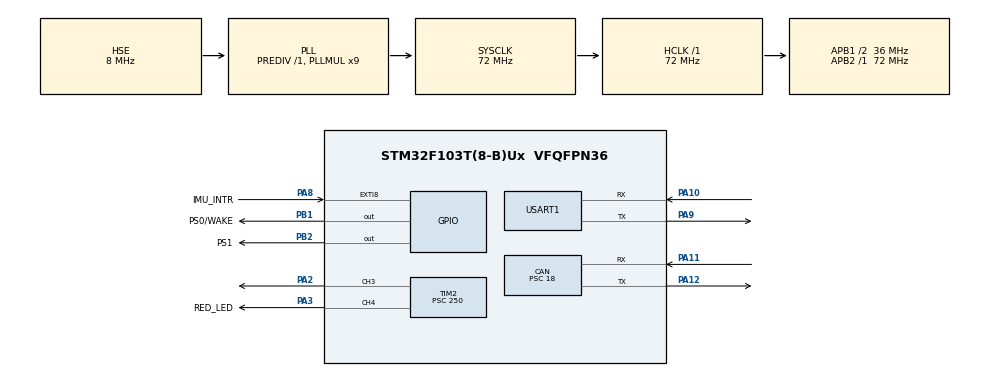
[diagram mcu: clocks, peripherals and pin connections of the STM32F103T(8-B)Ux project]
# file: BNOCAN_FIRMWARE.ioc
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CAN.BS1=CAN_BS1_2TQ
CAN.CalculateBaudRate=500000
CAN.CalculateTimeBit=2000
CAN.CalculateTimeQuantum=500.0
CAN.Mode=CAN_MODE_LOOPBACK
CAN.Prescaler=18
Mcu.Family=STM32F1
Mcu.Name=STM32F103T(8-B)Ux
Mcu.Package=VFQFPN36
NVIC.CAN1_RX1_IRQn=true\:0\:0\:false\:false\:true\:true\:true\:true
NVIC.PriorityGroup=NVIC_PRIORITYGROUP_4
NVIC.USB_LP_CAN1_RX0_IRQn=true\:0\:0\:false\:false\:true\:true\:true\:true
PA10.Mode=Asynchronous
PA10.Signal=USART1_RX
PA11.Mode=CAN_Activate
PA11.Signal=CAN_RX
PA12.Mode=CAN_Activate
PA12.Signal=CAN_TX
PA13.Mode=Serial_Wire
PA13.Signal=SYS_JTMS-SWDIO
PA14.Mode=Serial_Wire
PA14.Signal=SYS_JTCK-SWCLK
PA2.Signal=S_TIM2_CH3
PA3.GPIO_Label=RED_LED
PA3.Signal=S_TIM2_CH4
PA8.GPIO_Label=IMU_INTR
PA8.GPIO_ModeDefaultEXTI=GPIO_MODE_IT_FALLING
PA8.Signal=GPXTI8
PA9.Mode=Asynchronous
PA9.Signal=USART1_TX
PB1.GPIO_Label=PS0/WAKE
PB1.GPIO_PuPd=GPIO_PULLUP
PB1.Signal=GPIO_Output
PB2.GPIO_Label=PS1
PB2.GPIO_PuPd=GPIO_PULLUP
PB2.Signal=GPIO_Output
PB3.Signal=SYS_JTDO-TRACESWO
PD0-OSC_IN.Mode=HSE-External-Oscillator
PD0-OSC_IN.Signal=RCC_OSC_IN
PD1-OSC_OUT.Mode=HSE-External-Oscillator
PD1-OSC_OUT.Signal=RCC_OSC_OUT
ProjectManager.HeapSize=0x200
ProjectManager.StackSize=0x400
ProjectManager.TargetToolchain=STM32CubeIDE
RCC.AHBFreq_Value=72000000
RCC.APB1CLKDivider=RCC_HCLK_DIV2
RCC.APB1Freq_Value=36000000
RCC.APB1TimFreq_Value=72000000
RCC.APB2Freq_Value=72000000
RCC.APB2TimFreq_Value=72000000
RCC.HCLKFreq_Value=72000000
RCC.PLLMUL=RCC_PLL_MUL9
RCC.PLLSourceVirtual=RCC_PLLSOURCE_HSE
RCC.SYSCLKFreq_VALUE=72000000
RCC.SYSCLKSource=RCC_SYSCLKSOURCE_PLLCLK
RCC.USBFreq_Value=72000000
SH.S_TIM2_CH3.0=TIM2_CH3,PWM Generation3 CH3
SH.S_TIM2_CH4.0=TIM2_CH4,PWM Generation4 CH4
TIM2.Channel-PWM\ Generation3\ CH3=TIM_CHANNEL_3
TIM2.Channel-PWM\ Generation4\ CH4=TIM_CHANNEL_4
TIM2.Period=255
TIM2.Prescaler=250
TIM2.Pulse-PWM\ Generation3\ CH3=127
TIM2.Pulse-PWM\ Generation4\ CH4=127
USART1.VirtualMode=VM_ASYNC
VP_TIM2_VS_ClockSourceINT.Mode=Internal
board=custom

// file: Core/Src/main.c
/* USER CODE BEGIN Header */
/**
  ******************************************************************************
  * @file           : main.c
  * @brief          : Main program body
  ******************************************************************************
  * @attention
  *
  * Copyright (c) 2024 STMicroelectronics.
  * All rights reserved.
  *
  * This software is licensed under terms that can be found in the LICENSE file
  * in the root directory of this software component.
  * If no LICENSE file comes with this software, it is provided AS-IS.
  *
  ******************************************************************************
  */
/* USER CODE END Header */
#include "main.h"

/* USER CODE BEGIN Includes */
#include "stdio.h"
#define REVERSE_BITS(byte) ((byte * 0x0202020202ULL & 0x010884422010ULL) % 1023)
#define reverse_bytes_8(num) ( ((num & 0xF0) >> 4) | ((num & 0x0F) << 4) )

/* USER CODE END Includes */

CAN_HandleTypeDef hcan;

TIM_HandleTypeDef htim2;

UART_HandleTypeDef huart1;

void SystemClock_Config(void);
static void MX_GPIO_Init(void);
static void MX_CAN_Init(void);
static void MX_TIM2_Init(void);
static void MX_USART1_UART_Init(void);

/* USER CODE BEGIN 0 */

//Create header variables for incoming and outgoing CAN messages
CAN_TxHeaderTypeDef TxHeader;
CAN_RxHeaderTypeDef RxHeader;

//Create an array of CAN TX mailboxes (The F103 only supports up to 3 mailboxes!)
uint32_t TxMailbox[3];

//Create buffers for TX and RX CAN messages
uint8_t TxData[8];
uint8_t RxData[8];

//Create buffers for the UART RX messages
uint8_t uartRxData[19];

//Index for BNO085 Data alignment
uint8_t IndexOfPacketPrefix;
//Define the expected BNO085 packet prefix
#define PACKET_PREFIX 0xAAAA

//Upon receiving a CAN message
void HAL_CAN_RxFifo0MsgPendingCallback(CAN_HandleTypeDef *hcan)
{
	//Get a CAN frame from the Rx FIFO zone into the message RAM.
	HAL_CAN_GetRxMessage(hcan, CAN_RX_FIFO0, &RxHeader, RxData);
}
/* USER CODE END 0 */

int main(void)
{

  /* MCU Configuration--------------------------------------------------------*/

  /* Reset of all peripherals, Initializes the Flash interface and the Systick. */
  HAL_Init();

  /* Configure the system clock */
  SystemClock_Config();

  /* Initialize all configured peripherals */
  MX_GPIO_Init();
  MX_CAN_Init();
  MX_TIM2_Init();
  MX_USART1_UART_Init();
  /* USER CODE BEGIN 2 */

  /* Set the Protocol Select lines for the BNO085,
   * PS1 LOW and PS0 HIGH on boot sets the IMU to RVC (Robot Vacuum Cleaner)
   * mode. Which streams all data through the UART bus. Read the data sheet for more information.
   */
  HAL_GPIO_WritePin(GPIOB, PS1_Pin, GPIO_PIN_RESET);
  HAL_GPIO_WritePin(GPIOB, PS0_WAKE_Pin, GPIO_PIN_SET);

  //Start the CAN peripheral
  HAL_CAN_Start(&hcan);
  //Enable interrupts upon receiving CAN messages
  HAL_CAN_ActivateNotification(&hcan, CAN_IT_RX_FIFO0_MSG_PENDING);

  //Turn on Green LED
  HAL_TIM_PWM_Start(&htim2, TIM_CHANNEL_3); //GREEN LED or D3

  //Define CAN TX header
  TxHeader.DLC = 2;
  TxHeader.ExtId = 0;
  TxHeader.IDE = CAN_ID_STD;
  TxHeader.RTR = CAN_RTR_DATA;
  TxHeader.StdId = 0x111;
  TxHeader.TransmitGlobalTime = DISABLE;

  //Define CAN TX Data
  TxData[0] = 0x01;
  TxData[1] = 0x02;

//  if (HAL_CAN_AddTxMessage(&hcan, &TxHeader, &TxData[0], &TxMailbox[0]) != HAL_OK)
//  {
//	  Error_Handler();
//  }
//  if (HAL_CAN_AddTxMessage(&hcan, &TxHeader, &TxData[1], &TxMailbox[1]) != HAL_OK)
//  {
//	  Error_Handler();
//  }
//  if (HAL_CAN_AddTxMessage(&hcan, &TxHeader, &TxData[2], &TxMailbox[2]) != HAL_OK)
//  {
//	  Error_Handler();
//  }

  /* USER CODE END 2 */

  /* Infinite loop */
  /* USER CODE BEGIN WHILE */
  while (1)
  {

	  //Begin reading the UART buffer
	  if(HAL_UART_Receive(&huart1, uartRxData, 19, 1000) == HAL_OK)
	  {
		  //For the first 19 bytes
		  for(int i = 0; i < 19; i++)
		  {
			// Check if this particular set of bytes matches the expected value
			  uint16_t prefix = (uartRxData[i] << 8) | uartRxData[i+1];
			  if(prefix == PACKET_PREFIX)
			  {
				  //note that this is the index to start at
				  IndexOfPacketPrefix = i;

				  //exit the loop
				  i = 0xFFFF;
			  }
		  }

		  // Set the CAN data to send to be equal to the YAW sent by the BNO085
		  // See part 1.2.5.2 in the BNO085 data sheet for more information
		  //DEBUG:
		  //printf("Mailbox before send = %X\n", HAL_CAN_GetTxMailboxesFreeLevel(&hcan));

		  TxData[0] = REVERSE_BITS(uartRxData[IndexOfPacketPrefix + 3]);
		  TxData[1] = REVERSE_BITS(uartRxData[IndexOfPacketPrefix + 4]);
		  // Send that message to the first CAN mailbox
		  if (HAL_CAN_AddTxMessage(&hcan, &TxHeader, &TxData, &TxMailbox[0]) != HAL_OK)
		  {
			  Error_Handler();
		  }
		  //DEBUG:
		  //printf("Mailbox after send = %X\n", HAL_CAN_GetTxMailboxesFreeLevel(&hcan));

		}
	    //DEBUG:
		HAL_Delay(100);
		//<DEBUG>:

    /* USER CODE END WHILE */

  }
}

void SystemClock_Config(void)
{
  RCC_OscInitTypeDef RCC_OscInitStruct = {0};
  RCC_ClkInitTypeDef RCC_ClkInitStruct = {0};

  /** Initializes the RCC Oscillators according to the specified parameters
  * in the RCC_OscInitTypeDef structure.
  */
  RCC_OscInitStruct.OscillatorType = RCC_OSCILLATORTYPE_HSE;
  RCC_OscInitStruct.HSEState = RCC_HSE_ON;
  RCC_OscInitStruct.HSEPredivValue = RCC_HSE_PREDIV_DIV1;
  RCC_OscInitStruct.HSIState = RCC_HSI_ON;
  RCC_OscInitStruct.PLL.PLLState = RCC_PLL_ON;
  RCC_OscInitStruct.PLL.PLLSource = RCC_PLLSOURCE_HSE;
  RCC_OscInitStruct.PLL.PLLMUL = RCC_PLL_MUL9;
  if (HAL_RCC_OscConfig(&RCC_OscInitStruct) != HAL_OK)
  {
    Error_Handler();
  }

  /** Initializes the CPU, AHB and APB buses clocks
  */
  RCC_ClkInitStruct.ClockType = RCC_CLOCKTYPE_HCLK|RCC_CLOCKTYPE_SYSCLK
                              |RCC_CLOCKTYPE_PCLK1|RCC_CLOCKTYPE_PCLK2;
  RCC_ClkInitStruct.SYSCLKSource = RCC_SYSCLKSOURCE_PLLCLK;
  RCC_ClkInitStruct.AHBCLKDivider = RCC_SYSCLK_DIV1;
  RCC_ClkInitStruct.APB1CLKDivider = RCC_HCLK_DIV2;
  RCC_ClkInitStruct.APB2CLKDivider = RCC_HCLK_DIV1;

  if (HAL_RCC_ClockConfig(&RCC_ClkInitStruct, FLASH_LATENCY_2) != HAL_OK)
  {
    Error_Handler();
  }
}

static void MX_CAN_Init(void)
{

  hcan.Instance = CAN1;
  hcan.Init.Prescaler = 18;
  hcan.Init.Mode = CAN_MODE_LOOPBACK;
  hcan.Init.SyncJumpWidth = CAN_SJW_1TQ;
  hcan.Init.TimeSeg1 = CAN_BS1_2TQ;
  hcan.Init.TimeSeg2 = CAN_BS2_1TQ;
  hcan.Init.TimeTriggeredMode = DISABLE;
  hcan.Init.AutoBusOff = DISABLE;
  hcan.Init.AutoWakeUp = DISABLE;
  hcan.Init.AutoRetransmission = DISABLE;
  hcan.Init.ReceiveFifoLocked = DISABLE;
  hcan.Init.TransmitFifoPriority = DISABLE;
  if (HAL_CAN_Init(&hcan) != HAL_OK)
  {
    Error_Handler();
  }
  /* USER CODE BEGIN CAN_Init 2 */

  CAN_FilterTypeDef canfilterconfig;

  canfilterconfig.FilterActivation = CAN_FILTER_ENABLE;
  canfilterconfig.FilterBank = 10;  // anything between 0 to SlaveStartFilterBank
  canfilterconfig.FilterFIFOAssignment = CAN_RX_FIFO0;
  canfilterconfig.FilterIdHigh = 0x103<<5;
  canfilterconfig.FilterIdLow = 0x0000;
  canfilterconfig.FilterMaskIdHigh = 0x1<<13;
  canfilterconfig.FilterMaskIdLow = 0x0000;
  canfilterconfig.FilterMode = CAN_FILTERMODE_IDMASK;
  canfilterconfig.FilterScale = CAN_FILTERSCALE_32BIT;
  canfilterconfig.SlaveStartFilterBank = 13;  // 13 to 27 are assigned to slave CAN (CAN 2) OR 0 to 12 are assgned to CAN1

  HAL_CAN_ConfigFilter(&hcan, &canfilterconfig);

  /* USER CODE END CAN_Init 2 */

}

static void MX_TIM2_Init(void)
{

  TIM_ClockConfigTypeDef sClockSourceConfig = {0};
  TIM_MasterConfigTypeDef sMasterConfig = {0};
  TIM_OC_InitTypeDef sConfigOC = {0};

  htim2.Instance = TIM2;
  htim2.Init.Prescaler = 250;
  htim2.Init.CounterMode = TIM_COUNTERMODE_UP;
  htim2.Init.Period = 255;
  htim2.Init.ClockDivision = TIM_CLOCKDIVISION_DIV1;
  htim2.Init.AutoReloadPreload = TIM_AUTORELOAD_PRELOAD_DISABLE;
  if (HAL_TIM_Base_Init(&htim2) != HAL_OK)
  {
    Error_Handler();
  }
  sClockSourceConfig.ClockSource = TIM_CLOCKSOURCE_INTERNAL;
  if (HAL_TIM_ConfigClockSource(&htim2, &sClockSourceConfig) != HAL_OK)
  {
    Error_Handler();
  }
  if (HAL_TIM_PWM_Init(&htim2) != HAL_OK)
  {
    Error_Handler();
  }
  sMasterConfig.MasterOutputTrigger = TIM_TRGO_RESET;
  sMasterConfig.MasterSlaveMode = TIM_MASTERSLAVEMODE_DISABLE;
  if (HAL_TIMEx_MasterConfigSynchronization(&htim2, &sMasterConfig) != HAL_OK)
  {
    Error_Handler();
  }
  sConfigOC.OCMode = TIM_OCMODE_PWM1;
  sConfigOC.Pulse = 127;
  sConfigOC.OCPolarity = TIM_OCPOLARITY_HIGH;
  sConfigOC.OCFastMode = TIM_OCFAST_DISABLE;
  if (HAL_TIM_PWM_ConfigChannel(&htim2, &sConfigOC, TIM_CHANNEL_3) != HAL_OK)
  {
    Error_Handler();
  }
  if (HAL_TIM_PWM_ConfigChannel(&htim2, &sConfigOC, TIM_CHANNEL_4) != HAL_OK)
  {
    Error_Handler();
  }
  HAL_TIM_MspPostInit(&htim2);

}

static void MX_USART1_UART_Init(void)
{

  huart1.Instance = USART1;
  huart1.Init.BaudRate = 115200;
  huart1.Init.WordLength = UART_WORDLENGTH_8B;
  huart1.Init.StopBits = UART_STOPBITS_1;
  huart1.Init.Parity = UART_PARITY_NONE;
  huart1.Init.Mode = UART_MODE_TX_RX;
  huart1.Init.HwFlowCtl = UART_HWCONTROL_NONE;
  huart1.Init.OverSampling = UART_OVERSAMPLING_16;
  if (HAL_UART_Init(&huart1) != HAL_OK)
  {
    Error_Handler();
  }

}

static void MX_GPIO_Init(void)
{
  GPIO_InitTypeDef GPIO_InitStruct = {0};

  /* GPIO Ports Clock Enable */
  __HAL_RCC_GPIOD_CLK_ENABLE();
  __HAL_RCC_GPIOA_CLK_ENABLE();
  __HAL_RCC_GPIOB_CLK_ENABLE();

  /*Configure GPIO pin Output Level */
  HAL_GPIO_WritePin(GPIOB, PS0_WAKE_Pin|PS1_Pin, GPIO_PIN_RESET);

  /*Configure GPIO pins : PS0_WAKE_Pin PS1_Pin */
  GPIO_InitStruct.Pin = PS0_WAKE_Pin|PS1_Pin;
  GPIO_InitStruct.Mode = GPIO_MODE_OUTPUT_PP;
  GPIO_InitStruct.Pull = GPIO_PULLUP;
  GPIO_InitStruct.Speed = GPIO_SPEED_FREQ_LOW;
  HAL_GPIO_Init(GPIOB, &GPIO_InitStruct);

  /*Configure GPIO pin : IMU_INTR_Pin */
  GPIO_InitStruct.Pin = IMU_INTR_Pin;
  GPIO_InitStruct.Mode = GPIO_MODE_IT_FALLING;
  GPIO_InitStruct.Pull = GPIO_NOPULL;
  HAL_GPIO_Init(IMU_INTR_GPIO_Port, &GPIO_InitStruct);

}

/* USER CODE BEGIN 4 */
int _write(int file, char *ptr, int len)
{
  (void)file;
  int DataIdx;

  for (DataIdx = 0; DataIdx < len; DataIdx++)
  {
    ITM_SendChar(*ptr++);
  }
  return len;
}
/* USER CODE END 4 */

void Error_Handler(void)
{
  /* USER CODE BEGIN Error_Handler_Debug */
  /* User can add his own implementation to report the HAL error return state */
  __disable_irq();
  HAL_TIM_PWM_Start(&htim2, TIM_CHANNEL_4); //RED LED or D4
  while (1)
  {

	  printf("Errored out: %x \n", HAL_CAN_GetError(&hcan));
  }

  /* USER CODE END Error_Handler_Debug */
}
